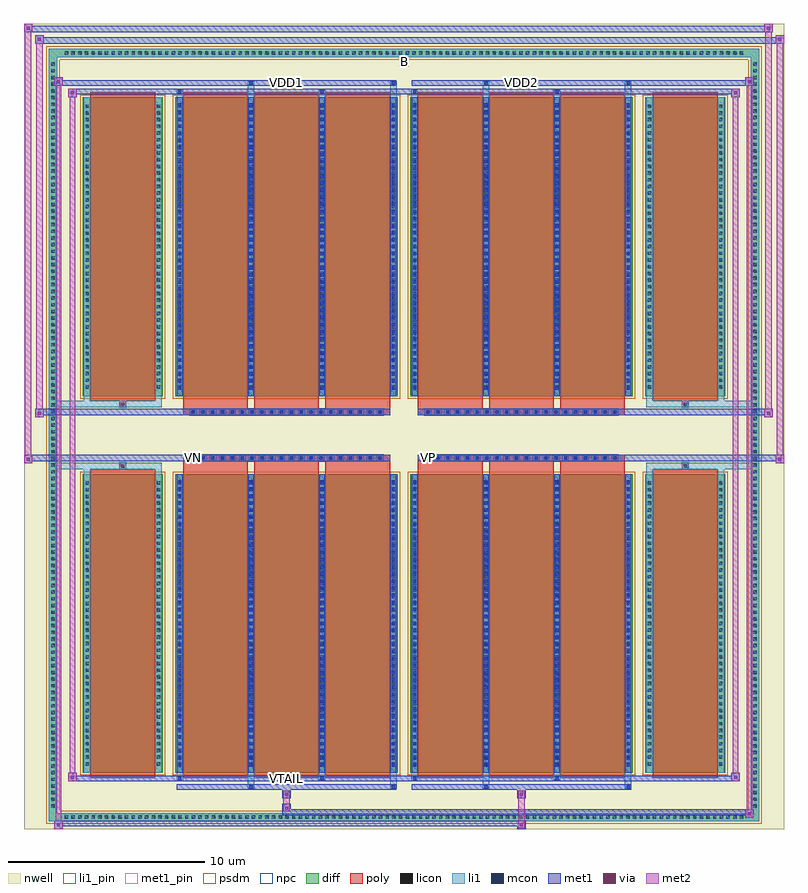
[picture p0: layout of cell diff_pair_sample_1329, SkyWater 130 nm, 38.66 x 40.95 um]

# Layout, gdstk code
import gdstk
lib = gdstk.Library(unit=1e-6, precision=5e-09)
def R(c, l, rs):  # rectangles x0, y0, x1, y1
    for r in rs: c.add(gdstk.rectangle(r[:2], r[2:], *l))
def A(c, l, x, y, w, h, nx, ny, dx, dy):  # array of equal rectangles
    R(c, l, [(x+i*dx, y+j*dy, x+i*dx+w, y+j*dy+h) for i in range(nx) for j in range(ny)])
def P(c, l, *ps):  # polygons
    for p in ps: c.add(gdstk.Polygon(p, *l))
nwell = (64, 20)
diff = (65, 20)
poly = (66, 20)
licon = (66, 44)
li1_pin = (67, 16)
li1 = (67, 20)
mcon = (67, 44)
met1_pin = (68, 16)
met1 = (68, 20)
via = (68, 44)
met2 = (69, 20)
psdm = (94, 20)
npc = (95, 20)

diff_pair_sample_1329 = lib.new_cell('diff_pair_sample_1329')
R(diff_pair_sample_1329, nwell, [(-19.33,-20.04,19.33,20.91), (-16.65,-18.23,-0.01,-0.805), (0.01,-18.23,16.65,-0.805), (-16.65,0.805,-0.01,18.23), (0.01,0.805,16.65,18.23)])
A(diff_pair_sample_1329, diff, -17.375, -19.64, 0.41, 0.41, 102, 2, 0.34, 38.87)
A(diff_pair_sample_1329, diff, -18.06, -19.075, 0.41, 0.41, 1, 112, 0, 0.34)
A(diff_pair_sample_1329, diff, 17.65, -19.075, 0.41, 0.41, 1, 112, 0, 0.34)
R(diff_pair_sample_1329, diff, [(-17.375,-19.64,17.375,-19.23), (-18.06,-19.075,-17.65,19.075), (17.65,-19.075,18.06,19.075), (-16.34,-17.185,-12.27,-1.985), (-11.63,-17.185,-0.32,-1.985), (0.32,-17.185,11.63,-1.985), (12.27,-17.185,16.34,-1.985), (-16.34,1.985,-12.27,17.185), (-11.63,1.985,-0.32,17.185), (0.32,1.985,11.63,17.185), (12.27,1.985,16.34,17.185), (-17.375,19.23,17.375,19.64)])
P(diff_pair_sample_1329, diff, [(18.06,19.64),(-18.06,19.64),(-18.06,-19.23),(-17.65,-19.23),(-17.65,19.23),(17.65,19.23),(17.65,-19.23),(-17.65,-19.23),(-18.06,-19.23),(-18.06,-19.64),(18.06,-19.64)])
A(diff_pair_sample_1329, poly, -11.24, -17.435, 3.29, 15.7, 3, 2, 3.62, 19.17)
A(diff_pair_sample_1329, poly, 0.71, -17.435, 3.29, 15.7, 3, 2, 3.62, 19.17)
A(diff_pair_sample_1329, poly, -11.24, -1.735, 3.29, 0.4, 3, 2, 3.62, 3.07)
A(diff_pair_sample_1329, poly, 0.71, -1.735, 3.29, 0.4, 3, 2, 3.62, 3.07)
A(diff_pair_sample_1329, poly, -10.89, -1.335, 0.33, 0.33, 20, 2, 0.5, 2.34)
A(diff_pair_sample_1329, poly, 1.06, -1.335, 0.33, 0.33, 20, 2, 0.5, 2.34)
R(diff_pair_sample_1329, poly, [(-15.95,-17.435,-12.66,-1.735), (12.66,-17.435,15.95,-1.735), (-14.47,-1.735,-14.14,-1.405), (-14.47,-1.735,-14.14,-1.405), (14.14,-1.735,14.47,-1.405), (14.14,-1.735,14.47,-1.405), (-11.24,-1.335,-0.71,-1.005), (0.71,-1.335,11.24,-1.005), (-11.24,1.005,-0.71,1.335), (0.71,1.005,11.24,1.335), (-14.47,1.405,-14.14,1.735), (-14.47,1.405,-14.14,1.735), (14.14,1.405,14.47,1.735), (14.14,1.405,14.47,1.735), (-15.95,1.735,-12.66,17.435), (12.66,1.735,15.95,17.435)])
A(diff_pair_sample_1329, licon, -17.255, -19.52, 0.17, 0.17, 102, 2, 0.34, 38.87)
A(diff_pair_sample_1329, licon, -17.94, -18.955, 0.17, 0.17, 1, 112, 0, 0.34)
A(diff_pair_sample_1329, licon, 17.77, -18.955, 0.17, 0.17, 1, 112, 0, 0.34)
A(diff_pair_sample_1329, licon, -16.2, -16.81, 0.17, 0.17, 1, 43, 0, 0.34)
A(diff_pair_sample_1329, licon, -12.58, -16.81, 0.17, 0.17, 1, 43, 0, 0.34)
A(diff_pair_sample_1329, licon, -11.49, -16.81, 0.17, 0.17, 4, 43, 3.62, 0.34)
A(diff_pair_sample_1329, licon, 0.46, -16.81, 0.17, 0.17, 4, 43, 3.62, 0.34)
A(diff_pair_sample_1329, licon, 12.41, -16.81, 0.17, 0.17, 1, 43, 0, 0.34)
A(diff_pair_sample_1329, licon, 16.03, -16.81, 0.17, 0.17, 1, 43, 0, 0.34)
A(diff_pair_sample_1329, licon, -10.81, -1.255, 0.17, 0.17, 20, 2, 0.5, 2.34)
A(diff_pair_sample_1329, licon, 1.14, -1.255, 0.17, 0.17, 20, 2, 0.5, 2.34)
A(diff_pair_sample_1329, licon, -16.2, 2.36, 0.17, 0.17, 1, 43, 0, 0.34)
A(diff_pair_sample_1329, licon, -12.58, 2.36, 0.17, 0.17, 1, 43, 0, 0.34)
A(diff_pair_sample_1329, licon, -11.49, 2.36, 0.17, 0.17, 4, 43, 3.62, 0.34)
A(diff_pair_sample_1329, licon, 0.46, 2.36, 0.17, 0.17, 4, 43, 3.62, 0.34)
A(diff_pair_sample_1329, licon, 12.41, 2.36, 0.17, 0.17, 1, 43, 0, 0.34)
A(diff_pair_sample_1329, licon, 16.03, 2.36, 0.17, 0.17, 1, 43, 0, 0.34)
R(diff_pair_sample_1329, licon, [(-14.39,-1.655,-14.22,-1.485), (14.22,-1.655,14.39,-1.485), (-14.39,1.485,-14.22,1.655), (14.22,1.485,14.39,1.655)])
R(diff_pair_sample_1329, li1_pin, [(-0.25,18.73,0.25,19.23)])
A(diff_pair_sample_1329, li1, -17.335, -19.6, 0.33, 0.33, 102, 2, 0.34, 38.87)
A(diff_pair_sample_1329, li1, -18.02, -19.035, 0.33, 0.33, 1, 112, 0, 0.34)
A(diff_pair_sample_1329, li1, 17.69, -19.035, 0.33, 0.33, 1, 112, 0, 0.34)
A(diff_pair_sample_1329, li1, -11.57, -17.185, 0.33, 15.2, 4, 2, 3.62, 19.17)
A(diff_pair_sample_1329, li1, 0.38, -17.185, 0.33, 15.2, 4, 2, 3.62, 19.17)
A(diff_pair_sample_1329, li1, -16.28, -16.89, 0.33, 0.33, 1, 43, 0, 0.34)
A(diff_pair_sample_1329, li1, -12.66, -16.89, 0.33, 0.33, 1, 43, 0, 0.34)
A(diff_pair_sample_1329, li1, -11.57, -16.89, 0.33, 0.33, 4, 43, 3.62, 0.34)
A(diff_pair_sample_1329, li1, 0.38, -16.89, 0.33, 0.33, 4, 43, 3.62, 0.34)
A(diff_pair_sample_1329, li1, 12.33, -16.89, 0.33, 0.33, 1, 43, 0, 0.34)
A(diff_pair_sample_1329, li1, 15.95, -16.89, 0.33, 0.33, 1, 43, 0, 0.34)
A(diff_pair_sample_1329, li1, -11.49, -16.87, 0.17, 0.17, 4, 41, 3.62, 0.36)
A(diff_pair_sample_1329, li1, -11.49, -16.87, 0.17, 14.57, 4, 2, 3.62, 19.17)
A(diff_pair_sample_1329, li1, 0.46, -16.87, 0.17, 0.17, 4, 41, 3.62, 0.36)
A(diff_pair_sample_1329, li1, 0.46, -16.87, 0.17, 14.57, 4, 2, 3.62, 19.17)
A(diff_pair_sample_1329, li1, -10.89, -1.335, 0.33, 0.33, 20, 2, 0.5, 2.34)
A(diff_pair_sample_1329, li1, 1.06, -1.335, 0.33, 0.33, 20, 2, 0.5, 2.34)
A(diff_pair_sample_1329, li1, -16.28, 2.28, 0.33, 0.33, 1, 43, 0, 0.34)
A(diff_pair_sample_1329, li1, -12.66, 2.28, 0.33, 0.33, 1, 43, 0, 0.34)
A(diff_pair_sample_1329, li1, -11.57, 2.28, 0.33, 0.33, 4, 43, 3.62, 0.34)
A(diff_pair_sample_1329, li1, 0.38, 2.28, 0.33, 0.33, 4, 43, 3.62, 0.34)
A(diff_pair_sample_1329, li1, 12.33, 2.28, 0.33, 0.33, 1, 43, 0, 0.34)
A(diff_pair_sample_1329, li1, 15.95, 2.28, 0.33, 0.33, 1, 43, 0, 0.34)
A(diff_pair_sample_1329, li1, -11.49, 2.3, 0.17, 0.17, 4, 41, 3.62, 0.36)
A(diff_pair_sample_1329, li1, 0.46, 2.3, 0.17, 0.17, 4, 41, 3.62, 0.36)
R(diff_pair_sample_1329, li1, [(-18.06,-19.64,-17.65,-19.23), (-18.06,-19.64,-17.65,-19.23), (-17.65,-19.64,17.65,-19.23), (17.65,-19.64,18.06,-19.23), (17.65,-19.64,18.06,-19.23), (-18.06,-19.23,-17.65,19.23), (17.65,-19.23,18.06,19.23), (-7.95,-17.99,-7.62,-17.185), (-7.87,-17.99,-7.7,-17.82), (-0.71,-17.99,-0.38,-17.185), (-0.63,-17.99,-0.46,-17.82), (4,-17.99,4.33,-17.185), (4.08,-17.99,4.25,-17.82), (11.24,-17.99,11.57,-17.185), (11.32,-17.99,11.49,-17.82), (-11.57,-17.56,-11.24,-17.185), (-11.49,-17.56,-11.32,-17.39), (-4.33,-17.56,-4,-17.185), (-4.25,-17.56,-4.08,-17.39), (0.38,-17.56,0.71,-17.185), (0.46,-17.56,0.63,-17.39), (7.62,-17.56,7.95,-17.185), (7.7,-17.56,7.87,-17.39), (-16.28,-17.185,-15.95,-1.985), (-12.66,-17.185,-12.33,-1.985), (12.33,-17.185,12.66,-1.985), (15.95,-17.185,16.28,-1.985), (-16.28,-1.985,-15.95,-1.405), (-12.66,-1.985,-12.33,-1.405), (12.33,-1.985,12.66,-1.405), (15.95,-1.985,16.28,-1.405), (-18.06,-1.735,-14.47,-1.405), (-16.28,-1.735,-14.47,-1.405), (-14.47,-1.735,-14.14,-1.405), (-14.14,-1.735,-12.33,-1.405), (12.33,-1.735,14.14,-1.405), (14.14,-1.735,14.47,-1.405), (14.14,-1.735,18.06,-1.405), (14.47,-1.735,16.28,-1.405), (-18.06,1.405,-14.47,1.735), (-16.28,1.405,-14.47,1.735), (-16.28,1.405,-15.95,1.985), (-14.47,1.405,-14.14,1.735), (-14.14,1.405,-12.33,1.735), (-12.66,1.405,-12.33,1.985), (12.33,1.405,14.14,1.735), (12.33,1.405,12.66,1.985), (14.14,1.405,14.47,1.735), (14.14,1.405,18.06,1.735), (14.47,1.405,16.28,1.735), (15.95,1.405,16.28,1.985), (-16.28,1.985,-15.95,17.185), (-12.66,1.985,-12.33,17.185), (12.33,1.985,12.66,17.185), (15.95,1.985,16.28,17.185), (-11.57,17.185,-11.24,17.56), (-7.95,17.185,-7.62,17.99), (-4.33,17.185,-4,17.56), (-0.71,17.185,-0.38,17.99), (0.38,17.185,0.71,17.56), (4,17.185,4.33,17.99), (7.62,17.185,7.95,17.56), (11.24,17.185,11.57,17.99), (-11.49,17.39,-11.32,17.56), (-4.25,17.39,-4.08,17.56), (0.46,17.39,0.63,17.56), (7.7,17.39,7.87,17.56), (-7.87,17.82,-7.7,17.99), (-0.63,17.82,-0.46,17.99), (4.08,17.82,4.25,17.99), (11.32,17.82,11.49,17.99), (-18.06,19.23,-17.65,19.64), (-18.06,19.23,-17.65,19.64), (-17.65,19.23,17.65,19.64), (17.65,19.23,18.06,19.64), (17.65,19.23,18.06,19.64)])
A(diff_pair_sample_1329, mcon, -11.49, -16.87, 0.17, 0.17, 4, 41, 3.62, 0.36)
A(diff_pair_sample_1329, mcon, 0.46, -16.87, 0.17, 0.17, 4, 41, 3.62, 0.36)
A(diff_pair_sample_1329, mcon, -10.81, -1.255, 0.17, 0.17, 20, 2, 0.5, 2.34)
A(diff_pair_sample_1329, mcon, 1.14, -1.255, 0.17, 0.17, 20, 2, 0.5, 2.34)
A(diff_pair_sample_1329, mcon, -11.49, 2.3, 0.17, 0.17, 4, 41, 3.62, 0.36)
A(diff_pair_sample_1329, mcon, 0.46, 2.3, 0.17, 0.17, 4, 41, 3.62, 0.36)
R(diff_pair_sample_1329, mcon, [(-7.87,-17.99,-7.7,-17.82), (-0.63,-17.99,-0.46,-17.82), (4.08,-17.99,4.25,-17.82), (11.32,-17.99,11.49,-17.82), (-11.49,-17.56,-11.32,-17.39), (-4.25,-17.56,-4.08,-17.39), (0.46,-17.56,0.63,-17.39), (7.7,-17.56,7.87,-17.39), (-11.49,17.39,-11.32,17.56), (-4.25,17.39,-4.08,17.56), (0.46,17.39,0.63,17.56), (7.7,17.39,7.87,17.56), (-7.87,17.82,-7.7,17.99), (-0.63,17.82,-0.46,17.99), (4.08,17.82,4.25,17.99), (11.32,17.82,11.49,17.99)])
R(diff_pair_sample_1329, met1_pin, [(-6.11,-17.6,-5.84,-17.33), (-10.86,-1.295,-10.59,-1.025), (1.09,-1.295,1.36,-1.025), (-6.11,17.78,-5.84,18.05), (5.84,17.78,6.11,18.05)])
A(diff_pair_sample_1329, met1, -11.55, -17.185, 0.29, 15.2, 4, 2, 3.62, 19.17)
A(diff_pair_sample_1329, met1, 0.4, -17.185, 0.29, 15.2, 4, 2, 3.62, 19.17)
A(diff_pair_sample_1329, met1, -11.55, -16.93, 0.29, 0.29, 4, 41, 3.62, 0.36)
A(diff_pair_sample_1329, met1, 0.4, -16.93, 0.29, 0.29, 4, 41, 3.62, 0.36)
A(diff_pair_sample_1329, met1, -10.87, -1.315, 0.29, 0.29, 20, 2, 0.5, 2.34)
A(diff_pair_sample_1329, met1, 1.08, -1.315, 0.29, 0.29, 20, 2, 0.5, 2.34)
A(diff_pair_sample_1329, met1, -11.55, 2.24, 0.29, 0.29, 4, 41, 3.62, 0.36)
A(diff_pair_sample_1329, met1, 0.4, 2.24, 0.29, 0.29, 4, 41, 3.62, 0.36)
R(diff_pair_sample_1329, met1, [(-17.79,-20.04,-17.36,-19.61), (5.76,-20.04,6.19,-19.61), (-17.79,-19.9,6.19,-19.61), (17.36,-19.47,17.79,-19.04), (-6.19,-19.33,17.79,-19.04), (-6.19,-19.19,-5.76,-18.76), (-6.19,-18.48,-5.76,-18.05), (5.76,-18.48,6.19,-18.05), (-11.55,-18.05,-0.4,-17.76), (-7.93,-18.05,-7.64,-17.76), (-0.69,-18.05,-0.4,-17.76), (0.4,-18.05,11.55,-17.76), (4.02,-18.05,4.31,-17.76), (11.26,-18.05,11.55,-17.76), (-17.08,-17.62,-16.65,-17.19), (-17.08,-17.62,-11.55,-17.33), (-11.55,-17.62,-11.26,-17.33), (-11.55,-17.62,-0.4,-17.33), (-4.31,-17.62,-4.02,-17.33), (-0.4,-17.62,0.4,-17.33), (0.4,-17.62,0.69,-17.33), (0.4,-17.62,11.55,-17.33), (7.64,-17.62,7.93,-17.33), (11.55,-17.62,17.08,-17.33), (16.65,-17.62,17.08,-17.19), (-19.33,-1.435,-18.9,-1.005), (18.9,-1.435,19.33,-1.005), (-19.33,-1.335,-0.71,-1.005), (-11.24,-1.335,-0.71,-1.005), (0.71,-1.335,11.24,-1.005), (0.71,-1.335,19.33,-1.005), (-18.76,0.905,-18.33,1.335), (18.33,0.905,18.76,1.335), (-18.76,1.005,-11.24,1.335), (-11.24,1.005,-0.71,1.335), (0.71,1.005,11.24,1.335), (11.24,1.005,18.76,1.335), (-17.08,17.19,-16.65,17.62), (16.65,17.19,17.08,17.62), (-17.08,17.33,-11.55,17.62), (-11.55,17.33,-11.26,17.62), (-11.55,17.33,-0.4,17.62), (-4.31,17.33,-4.02,17.62), (-0.4,17.33,0.4,17.62), (0.4,17.33,0.69,17.62), (0.4,17.33,11.55,17.62), (7.64,17.33,7.93,17.62), (11.55,17.33,17.08,17.62), (-17.79,17.76,-17.36,18.19), (-17.79,17.76,-11.55,18.05), (-11.55,17.76,-0.4,18.05), (-7.93,17.76,-7.64,18.05), (-0.69,17.76,-0.4,18.05), (0.4,17.76,11.55,18.05), (4.02,17.76,4.31,18.05), (11.26,17.76,11.55,18.05), (11.55,17.76,17.79,18.05), (17.36,17.76,17.79,18.19), (-18.76,19.91,-18.33,20.34), (-18.76,19.91,-16.65,20.24), (-16.65,19.91,16.65,20.24), (16.65,19.91,19.33,20.24), (18.9,19.91,19.33,20.34), (-19.33,20.48,-18.9,20.91), (-19.33,20.48,-16.65,20.81), (-16.65,20.48,16.65,20.81), (16.65,20.48,18.76,20.81), (18.33,20.48,18.76,20.91)])
R(diff_pair_sample_1329, via, [(-17.65,-19.9,-17.5,-19.75), (5.9,-19.9,6.05,-19.75), (17.5,-19.33,17.65,-19.18), (-6.05,-19.05,-5.9,-18.9), (-6.05,-18.34,-5.9,-18.19), (5.9,-18.34,6.05,-18.19), (-16.94,-17.48,-16.79,-17.33), (16.79,-17.48,16.94,-17.33), (-19.19,-1.295,-19.04,-1.145), (19.04,-1.295,19.19,-1.145), (-18.62,1.045,-18.47,1.195), (18.47,1.045,18.62,1.195), (-16.94,17.33,-16.79,17.48), (16.79,17.33,16.94,17.48), (-17.65,17.9,-17.5,18.05), (17.5,17.9,17.65,18.05), (-18.62,20.05,-18.47,20.2), (19.04,20.05,19.19,20.2), (-19.19,20.62,-19.04,20.77), (18.47,20.62,18.62,20.77)])
R(diff_pair_sample_1329, met2, [(-17.79,-20.04,-17.36,-19.61), (-17.72,-20.04,-17.43,18.19), (-17.43,-20.04,-17.36,-19.61), (-17.74,-19.99,-17.41,-19.66), (5.81,-19.99,6.14,-19.66), (5.81,-19.66,6.14,-18.43), (17.36,-19.47,17.79,-19.04), (17.43,-19.47,17.72,18.19), (17.72,-19.47,17.79,-19.04), (17.41,-19.42,17.74,-19.09), (-6.14,-19.14,-5.81,-18.81), (-6.14,-18.81,-5.81,-18.43), (-6.14,-18.43,-5.81,-18.1), (5.81,-18.43,6.14,-18.1), (-17.08,-17.62,-16.65,-17.19), (-17.01,-17.62,-16.72,17.62), (-16.72,-17.62,-16.65,-17.19), (16.65,-17.62,17.08,-17.19), (16.72,-17.62,17.01,17.62), (17.01,-17.62,17.08,-17.19), (-17.03,-17.57,-16.7,-17.24), (16.7,-17.57,17.03,-17.24), (-19.33,-1.435,-18.9,-1.005), (-19.28,-1.435,-18.95,20.91), (-18.95,-1.435,-18.9,-1.005), (18.9,-1.435,19.33,-1.005), (18.95,-1.435,19.28,20.34), (19.28,-1.435,19.33,-1.005), (-19.28,-1.385,-18.95,-1.055), (18.95,-1.385,19.28,-1.055), (-18.76,0.905,-18.33,1.335), (-18.71,0.905,-18.38,20.34), (-18.38,0.905,-18.33,1.335), (18.33,0.905,18.76,1.335), (18.38,0.905,18.71,20.91), (18.71,0.905,18.76,1.335), (-18.71,0.955,-18.38,1.285), (18.38,0.955,18.71,1.285), (-17.08,17.19,-16.65,17.62), (-16.72,17.19,-16.65,17.62), (16.65,17.19,17.08,17.62), (17.01,17.19,17.08,17.62), (-17.03,17.24,-16.7,17.57), (16.7,17.24,17.03,17.57), (-17.79,17.76,-17.36,18.19), (-17.43,17.76,-17.36,18.19), (17.36,17.76,17.79,18.19), (17.72,17.76,17.79,18.19), (-17.74,17.81,-17.41,18.14), (17.41,17.81,17.74,18.14), (-18.76,19.91,-18.33,20.34), (-18.38,19.91,-18.33,20.34), (18.9,19.91,19.33,20.34), (19.28,19.91,19.33,20.34), (-18.71,19.96,-18.38,20.29), (18.95,19.96,19.28,20.29), (-19.33,20.48,-18.9,20.91), (-18.95,20.48,-18.9,20.91), (18.33,20.48,18.76,20.91), (18.71,20.48,18.76,20.91), (-19.28,20.53,-18.95,20.86), (18.38,20.53,18.71,20.86)])
R(diff_pair_sample_1329, psdm, [(-16.47,-17.315,-12.14,-1.855), (-11.76,-17.315,-0.19,-1.855), (0.19,-17.315,11.76,-1.855), (12.14,-17.315,16.47,-1.855), (-16.47,1.855,-12.14,17.315), (-11.76,1.855,-0.19,17.315), (0.19,1.855,11.76,17.315), (12.14,1.855,16.47,17.315)])
P(diff_pair_sample_1329, psdm, [(18.19,19.77),(-18.19,19.77),(-18.19,-19.1),(-17.52,-19.1),(-17.52,19.1),(17.52,19.1),(17.52,-19.1),(-17.52,-19.1),(-18.19,-19.1),(-18.19,-19.77),(18.19,-19.77)])
A(diff_pair_sample_1329, npc, -10.91, -1.355, 0.37, 0.37, 20, 2, 0.5, 2.34)
A(diff_pair_sample_1329, npc, 1.04, -1.355, 0.37, 0.37, 20, 2, 0.5, 2.34)
R(diff_pair_sample_1329, npc, [(-14.49,-1.755,-14.12,-1.385), (14.12,-1.755,14.49,-1.385), (-10.91,-1.355,-10.04,-0.985), (-10.91,-1.355,-10.04,-0.985), (-10.41,-1.355,-9.54,-0.985), (-10.41,-1.355,-9.54,-0.985), (-9.91,-1.355,-9.04,-0.985), (-9.91,-1.355,-9.04,-0.985), (-9.41,-1.355,-8.54,-0.985), (-9.41,-1.355,-8.54,-0.985), (-8.91,-1.355,-8.04,-0.985), (-8.91,-1.355,-8.04,-0.985), (-8.41,-1.355,-7.54,-0.985), (-8.41,-1.355,-7.54,-0.985), (-7.91,-1.355,-7.04,-0.985), (-7.91,-1.355,-7.04,-0.985), (-7.41,-1.355,-6.54,-0.985), (-7.41,-1.355,-6.54,-0.985), (-6.91,-1.355,-6.04,-0.985), (-6.91,-1.355,-6.04,-0.985), (-6.41,-1.355,-5.54,-0.985), (-6.41,-1.355,-5.54,-0.985), (-5.91,-1.355,-5.04,-0.985), (-5.91,-1.355,-5.04,-0.985), (-5.41,-1.355,-4.54,-0.985), (-5.41,-1.355,-4.54,-0.985), (-4.91,-1.355,-4.04,-0.985), (-4.91,-1.355,-4.04,-0.985), (-4.41,-1.355,-3.54,-0.985), (-4.41,-1.355,-3.54,-0.985), (-3.91,-1.355,-3.04,-0.985), (-3.91,-1.355,-3.04,-0.985), (-3.41,-1.355,-2.54,-0.985), (-3.41,-1.355,-2.54,-0.985), (-2.91,-1.355,-2.04,-0.985), (-2.91,-1.355,-2.04,-0.985), (-2.41,-1.355,-1.54,-0.985), (-2.41,-1.355,-1.54,-0.985), (-1.91,-1.355,-1.04,-0.985), (-1.91,-1.355,-1.04,-0.985), (1.04,-1.355,1.91,-0.985), (1.04,-1.355,1.91,-0.985), (1.54,-1.355,2.41,-0.985), (1.54,-1.355,2.41,-0.985), (2.04,-1.355,2.91,-0.985), (2.04,-1.355,2.91,-0.985), (2.54,-1.355,3.41,-0.985), (2.54,-1.355,3.41,-0.985), (3.04,-1.355,3.91,-0.985), (3.04,-1.355,3.91,-0.985), (3.54,-1.355,4.41,-0.985), (3.54,-1.355,4.41,-0.985), (4.04,-1.355,4.91,-0.985), (4.04,-1.355,4.91,-0.985), (4.54,-1.355,5.41,-0.985), (4.54,-1.355,5.41,-0.985), (5.04,-1.355,5.91,-0.985), (5.04,-1.355,5.91,-0.985), (5.54,-1.355,6.41,-0.985), (5.54,-1.355,6.41,-0.985), (6.04,-1.355,6.91,-0.985), (6.04,-1.355,6.91,-0.985), (6.54,-1.355,7.41,-0.985), (6.54,-1.355,7.41,-0.985), (7.04,-1.355,7.91,-0.985), (7.04,-1.355,7.91,-0.985), (7.54,-1.355,8.41,-0.985), (7.54,-1.355,8.41,-0.985), (8.04,-1.355,8.91,-0.985), (8.04,-1.355,8.91,-0.985), (8.54,-1.355,9.41,-0.985), (8.54,-1.355,9.41,-0.985), (9.04,-1.355,9.91,-0.985), (9.04,-1.355,9.91,-0.985), (9.54,-1.355,10.41,-0.985), (9.54,-1.355,10.41,-0.985), (10.04,-1.355,10.91,-0.985), (10.04,-1.355,10.91,-0.985), (-10.91,0.985,-10.04,1.355), (-10.91,0.985,-10.04,1.355), (-10.41,0.985,-9.54,1.355), (-10.41,0.985,-9.54,1.355), (-9.91,0.985,-9.04,1.355), (-9.91,0.985,-9.04,1.355), (-9.41,0.985,-8.54,1.355), (-9.41,0.985,-8.54,1.355), (-8.91,0.985,-8.04,1.355), (-8.91,0.985,-8.04,1.355), (-8.41,0.985,-7.54,1.355), (-8.41,0.985,-7.54,1.355), (-7.91,0.985,-7.04,1.355), (-7.91,0.985,-7.04,1.355), (-7.41,0.985,-6.54,1.355), (-7.41,0.985,-6.54,1.355), (-6.91,0.985,-6.04,1.355), (-6.91,0.985,-6.04,1.355), (-6.41,0.985,-5.54,1.355), (-6.41,0.985,-5.54,1.355), (-5.91,0.985,-5.04,1.355), (-5.91,0.985,-5.04,1.355), (-5.41,0.985,-4.54,1.355), (-5.41,0.985,-4.54,1.355), (-4.91,0.985,-4.04,1.355), (-4.91,0.985,-4.04,1.355), (-4.41,0.985,-3.54,1.355), (-4.41,0.985,-3.54,1.355), (-3.91,0.985,-3.04,1.355), (-3.91,0.985,-3.04,1.355), (-3.41,0.985,-2.54,1.355), (-3.41,0.985,-2.54,1.355), (-2.91,0.985,-2.04,1.355), (-2.91,0.985,-2.04,1.355), (-2.41,0.985,-1.54,1.355), (-2.41,0.985,-1.54,1.355), (-1.91,0.985,-1.04,1.355), (-1.91,0.985,-1.04,1.355), (1.04,0.985,1.91,1.355), (1.04,0.985,1.91,1.355), (1.54,0.985,2.41,1.355), (1.54,0.985,2.41,1.355), (2.04,0.985,2.91,1.355), (2.04,0.985,2.91,1.355), (2.54,0.985,3.41,1.355), (2.54,0.985,3.41,1.355), (3.04,0.985,3.91,1.355), (3.04,0.985,3.91,1.355), (3.54,0.985,4.41,1.355), (3.54,0.985,4.41,1.355), (4.04,0.985,4.91,1.355), (4.04,0.985,4.91,1.355), (4.54,0.985,5.41,1.355), (4.54,0.985,5.41,1.355), (5.04,0.985,5.91,1.355), (5.04,0.985,5.91,1.355), (5.54,0.985,6.41,1.355), (5.54,0.985,6.41,1.355), (6.04,0.985,6.91,1.355), (6.04,0.985,6.91,1.355), (6.54,0.985,7.41,1.355), (6.54,0.985,7.41,1.355), (7.04,0.985,7.91,1.355), (7.04,0.985,7.91,1.355), (7.54,0.985,8.41,1.355), (7.54,0.985,8.41,1.355), (8.04,0.985,8.91,1.355), (8.04,0.985,8.91,1.355), (8.54,0.985,9.41,1.355), (8.54,0.985,9.41,1.355), (9.04,0.985,9.91,1.355), (9.04,0.985,9.91,1.355), (9.54,0.985,10.41,1.355), (9.54,0.985,10.41,1.355), (10.04,0.985,10.91,1.355), (10.04,0.985,10.91,1.355), (-14.49,1.385,-14.12,1.755), (14.12,1.385,14.49,1.755)])
diff_pair_sample_1329.add(gdstk.Label('VTAIL', (-5.975,-17.465), layer=68, texttype=5))
diff_pair_sample_1329.add(gdstk.Label('VN', (-10.725,-1.16), layer=68, texttype=5))
diff_pair_sample_1329.add(gdstk.Label('VP', (1.225,-1.16), layer=68, texttype=5))
diff_pair_sample_1329.add(gdstk.Label('B', (0,18.98), layer=67, texttype=5))
diff_pair_sample_1329.add(gdstk.Label('VDD2', (5.975,17.915), layer=68, texttype=5))
diff_pair_sample_1329.add(gdstk.Label('VDD1', (-5.975,17.915), layer=68, texttype=5))

lib.write_gds('diff_pair_sample_1329.gds')
